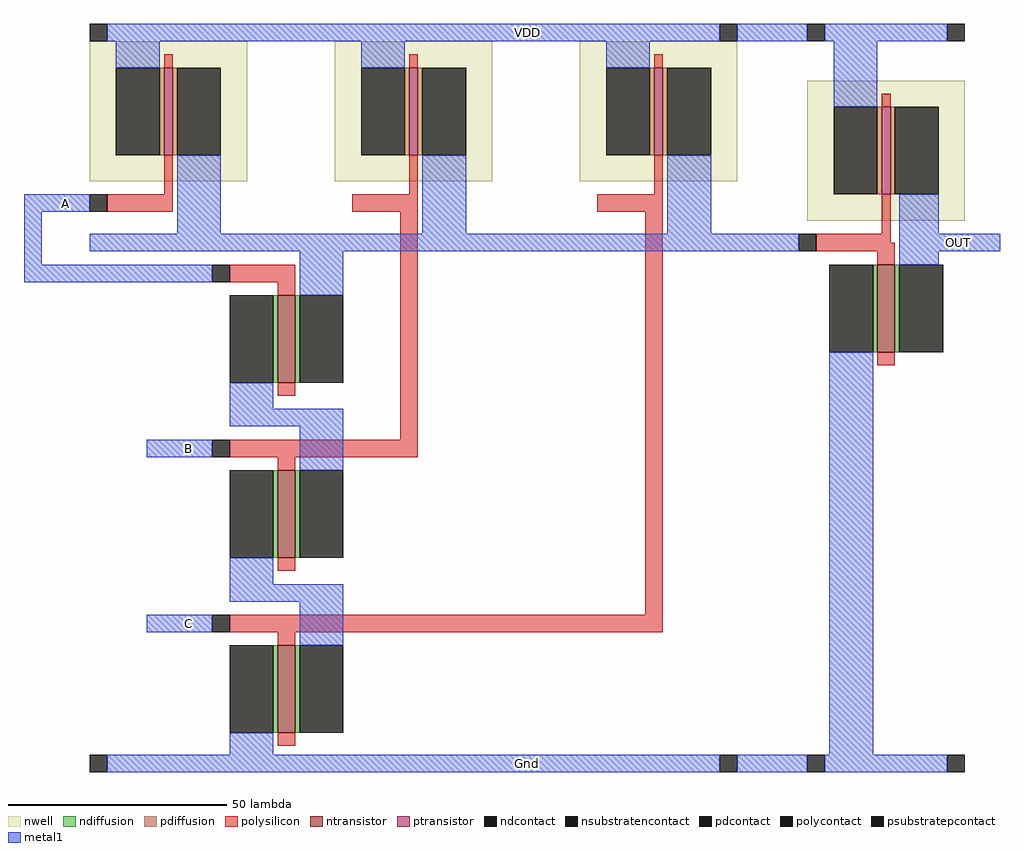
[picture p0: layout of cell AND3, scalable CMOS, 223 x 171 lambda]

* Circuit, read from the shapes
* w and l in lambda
.subckt AND3 A B C Gnd OUT VDD
M1 n1 C Gnd Gnd nfet w=20 l=4
M2 n2 B n1 Gnd nfet w=20 l=4
M3 n3 A n2 Gnd nfet w=20 l=4
M4 OUT n3 Gnd Gnd nfet w=20 l=4
M5 n3 A VDD n4 pfet w=20 l=2
M6 n3 B VDD n5 pfet w=20 l=2
M7 n3 C VDD n6 pfet w=20 l=2
M8 OUT n3 VDD n7 pfet w=20 l=2
.ends

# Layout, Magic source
magic
tech scmos
<< nwell >>
rect 201 136 237 168
rect 257 136 293 168
rect 313 136 349 168
rect 365 127 401 159
<< ntransistor >>
rect 244 90 248 110
rect 244 50 248 70
rect 381 97 385 117
rect 244 10 248 30
<< ptransistor >>
rect 218 142 220 162
rect 274 142 276 162
rect 330 142 332 162
rect 382 133 384 153
<< ndiffusion >>
rect 243 90 244 110
rect 248 90 249 110
rect 243 50 244 70
rect 248 50 249 70
rect 380 97 381 117
rect 385 97 386 117
rect 243 10 244 30
rect 248 10 249 30
<< pdiffusion >>
rect 217 142 218 162
rect 220 142 221 162
rect 273 142 274 162
rect 276 142 277 162
rect 329 142 330 162
rect 332 142 333 162
rect 381 133 382 153
rect 384 133 385 153
<< ndcontact >>
rect 233 90 243 110
rect 249 90 259 110
rect 233 50 243 70
rect 249 50 259 70
rect 370 97 380 117
rect 386 97 396 117
rect 233 10 243 30
rect 249 10 259 30
<< pdcontact >>
rect 207 142 217 162
rect 221 142 231 162
rect 263 142 273 162
rect 277 142 287 162
rect 319 142 329 162
rect 333 142 343 162
rect 371 133 381 153
rect 385 133 395 153
<< psubstratepcontact >>
rect 201 1 205 5
rect 345 1 349 5
rect 365 1 369 5
rect 397 1 401 5
<< nsubstratencontact >>
rect 201 168 205 172
rect 345 168 349 172
rect 365 168 369 172
rect 397 168 401 172
<< polysilicon >>
rect 218 162 220 165
rect 274 162 276 165
rect 330 162 332 165
rect 382 153 384 156
rect 218 133 220 142
rect 274 133 276 142
rect 330 133 332 142
rect 205 129 220 133
rect 261 129 276 133
rect 317 129 332 133
rect 233 113 248 117
rect 244 110 248 113
rect 244 87 248 90
rect 272 77 276 129
rect 233 73 276 77
rect 244 70 248 73
rect 244 47 248 50
rect 328 37 332 129
rect 382 124 384 133
rect 367 122 384 124
rect 367 120 385 122
rect 381 117 385 120
rect 381 94 385 97
rect 233 33 332 37
rect 244 30 248 33
rect 244 7 248 10
<< polycontact >>
rect 201 129 205 133
rect 229 113 233 117
rect 229 73 233 77
rect 363 120 367 124
rect 229 33 233 37
<< metal1 >>
rect 205 168 345 172
rect 349 168 365 172
rect 369 168 397 172
rect 207 162 217 168
rect 263 162 273 168
rect 319 162 329 168
rect 186 129 201 133
rect 186 117 190 129
rect 221 124 231 142
rect 277 124 287 142
rect 333 124 343 142
rect 371 153 381 168
rect 386 124 395 133
rect 201 120 363 124
rect 386 120 409 124
rect 186 113 229 117
rect 249 110 259 120
rect 386 117 395 120
rect 233 84 243 90
rect 233 80 259 84
rect 214 73 229 77
rect 249 70 259 80
rect 233 44 243 50
rect 233 40 259 44
rect 214 33 229 37
rect 249 30 259 40
rect 233 5 243 10
rect 370 5 380 97
rect 205 1 345 5
rect 349 1 365 5
rect 369 1 397 5
<< labels >>
rlabel metal1 186 129 205 133 1 A
rlabel metal1 214 73 233 77 1 B
rlabel metal1 214 33 233 37 1 C
rlabel metal1 201 168 401 172 5 VDD
rlabel metal1 201 1 401 5 1 Gnd
rlabel metal1 390 120 409 124 1 OUT
<< end >>
